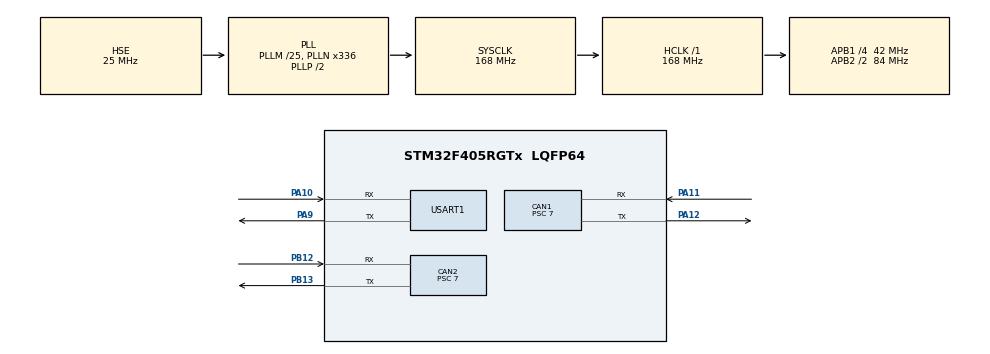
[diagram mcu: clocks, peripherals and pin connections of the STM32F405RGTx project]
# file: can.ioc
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CAN1.BS1=CAN_BS1_5TQ
CAN1.BS2=CAN_BS2_6TQ
CAN1.CalculateBaudRate=499999
CAN1.CalculateTimeBit=2000
CAN1.CalculateTimeQuantum=166.66666666666669
CAN1.Mode=CAN_MODE_LOOPBACK
CAN1.Prescaler=7
CAN2.BS1=CAN_BS1_5TQ
CAN2.BS2=CAN_BS2_6TQ
CAN2.CalculateBaudRate=499999
CAN2.CalculateTimeBit=2000
CAN2.CalculateTimeQuantum=166.66666666666669
CAN2.Mode=CAN_MODE_LOOPBACK
CAN2.Prescaler=7
Dma.Request0=USART1_RX
Dma.Request1=USART1_TX
Dma.USART1_RX.0.Direction=DMA_PERIPH_TO_MEMORY
Dma.USART1_RX.0.FIFOMode=DMA_FIFOMODE_DISABLE
Dma.USART1_RX.0.Instance=DMA2_Stream2
Dma.USART1_RX.0.MemDataAlignment=DMA_MDATAALIGN_BYTE
Dma.USART1_RX.0.MemInc=DMA_MINC_ENABLE
Dma.USART1_RX.0.Mode=DMA_NORMAL
Dma.USART1_RX.0.PeriphDataAlignment=DMA_PDATAALIGN_BYTE
Dma.USART1_RX.0.PeriphInc=DMA_PINC_DISABLE
Dma.USART1_RX.0.Priority=DMA_PRIORITY_MEDIUM
Dma.USART1_TX.1.Direction=DMA_MEMORY_TO_PERIPH
Dma.USART1_TX.1.FIFOMode=DMA_FIFOMODE_DISABLE
Dma.USART1_TX.1.Instance=DMA2_Stream7
Dma.USART1_TX.1.MemDataAlignment=DMA_MDATAALIGN_BYTE
Dma.USART1_TX.1.MemInc=DMA_MINC_ENABLE
Dma.USART1_TX.1.Mode=DMA_NORMAL
Dma.USART1_TX.1.PeriphDataAlignment=DMA_PDATAALIGN_BYTE
Dma.USART1_TX.1.PeriphInc=DMA_PINC_DISABLE
Dma.USART1_TX.1.Priority=DMA_PRIORITY_LOW
FREERTOS.Queues01=myQueue01,16,uint16_t,0,Dynamic,NULL,NULL
FREERTOS.Tasks01=defaultTask,24,128,StartDefaultTask,Default,NULL,Dynamic,NULL,NULL;myTask01,8,128,StartTask01,Default,NULL,Dynamic,NULL,NULL
Mcu.Family=STM32F4
Mcu.Name=STM32F405RGTx
Mcu.Package=LQFP64
NVIC.CAN1_RX0_IRQn=true\:5\:0\:false\:false\:true\:true\:true\:true\:true
NVIC.CAN2_RX0_IRQn=true\:5\:0\:false\:false\:true\:true\:true\:true\:true
NVIC.DMA2_Stream2_IRQn=true\:5\:0\:false\:false\:true\:true\:false\:true\:true
NVIC.DMA2_Stream7_IRQn=true\:5\:0\:false\:false\:true\:true\:false\:true\:true
NVIC.PriorityGroup=NVIC_PRIORITYGROUP_4
NVIC.TIM1_UP_TIM10_IRQn=true\:15\:0\:false\:false\:true\:false\:false\:true\:true
NVIC.TimeBase=TIM1_UP_TIM10_IRQn
NVIC.TimeBaseIP=TIM1
NVIC.USART1_IRQn=true\:5\:0\:false\:false\:true\:true\:false\:true\:true
PA10.Mode=Asynchronous
PA10.Signal=USART1_RX
PA11.Mode=CAN_Activate
PA11.Signal=CAN1_RX
PA12.Mode=CAN_Activate
PA12.Signal=CAN1_TX
PA13.Mode=Serial_Wire
PA13.Signal=SYS_JTMS-SWDIO
PA14.Mode=Serial_Wire
PA14.Signal=SYS_JTCK-SWCLK
PA9.Mode=Asynchronous
PA9.Signal=USART1_TX
PB12.Mode=CAN_Activate
PB12.Signal=CAN2_RX
PB13.Mode=CAN_Activate
PB13.Signal=CAN2_TX
PH0-OSC_IN.Mode=HSE-External-Oscillator
PH0-OSC_IN.Signal=RCC_OSC_IN
PH1-OSC_OUT.Mode=HSE-External-Oscillator
PH1-OSC_OUT.Signal=RCC_OSC_OUT
ProjectManager.HeapSize=0x200
ProjectManager.StackSize=0x400
ProjectManager.TargetToolchain=MDK-ARM V5.32
RCC.48MHZClocksFreq_Value=84000000
RCC.AHBFreq_Value=168000000
RCC.APB1CLKDivider=RCC_HCLK_DIV4
RCC.APB1Freq_Value=42000000
RCC.APB1TimFreq_Value=84000000
RCC.APB2CLKDivider=RCC_HCLK_DIV2
RCC.APB2Freq_Value=84000000
RCC.APB2TimFreq_Value=168000000
RCC.CortexFreq_Value=168000000
RCC.HCLKFreq_Value=168000000
RCC.HSE_VALUE=25000000
RCC.HSI_VALUE=16000000
RCC.LSE_VALUE=32768
RCC.PLLM=25
RCC.PLLN=336
RCC.PLLSourceVirtual=RCC_PLLSOURCE_HSE
RCC.SYSCLKFreq_VALUE=168000000
RCC.SYSCLKSource=RCC_SYSCLKSOURCE_PLLCLK
RCC.VCOOutputFreq_Value=336000000
USART1.VirtualMode=VM_ASYNC
VP_FREERTOS_VS_CMSIS_V2.Mode=CMSIS_V2
VP_SYS_VS_tim1.Mode=TIM1
board=custom

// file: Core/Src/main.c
/* USER CODE BEGIN Header */
/**
  ******************************************************************************
  * @file           : main.c
  * @brief          : Main program body
  ******************************************************************************
  * @attention
  *
  * Copyright (c) 2024 STMicroelectronics.
  * All rights reserved.
  *
  * This software is licensed under terms that can be found in the LICENSE file
  * in the root directory of this software component.
  * If no LICENSE file comes with this software, it is provided AS-IS.
  *
  ******************************************************************************
  */
/* USER CODE END Header */
#include "main.h"
#include "cmsis_os.h"
#include "can.h"
#include "dma.h"
#include "usart.h"
#include "gpio.h"

void SystemClock_Config(void);
void MX_FREERTOS_Init(void);

int main(void)
{

  /* MCU Configuration--------------------------------------------------------*/

  /* Reset of all peripherals, Initializes the Flash interface and the Systick. */
  HAL_Init();

  /* Configure the system clock */
  SystemClock_Config();

  /* Initialize all configured peripherals */
  MX_GPIO_Init();
  MX_DMA_Init();
  MX_CAN1_Init();
  MX_CAN2_Init();
  MX_USART1_UART_Init();

  /* Init scheduler */
  osKernelInitialize();

  /* Call init function for freertos objects (in cmsis_os2.c) */
  MX_FREERTOS_Init();

  /* Start scheduler */
  osKernelStart();

  /* We should never get here as control is now taken by the scheduler */

  /* Infinite loop */
  while (1)
  {

  }
}

void SystemClock_Config(void)
{
  RCC_OscInitTypeDef RCC_OscInitStruct = {0};
  RCC_ClkInitTypeDef RCC_ClkInitStruct = {0};

  /** Configure the main internal regulator output voltage
  */
  __HAL_RCC_PWR_CLK_ENABLE();
  __HAL_PWR_VOLTAGESCALING_CONFIG(PWR_REGULATOR_VOLTAGE_SCALE1);

  /** Initializes the RCC Oscillators according to the specified parameters
  * in the RCC_OscInitTypeDef structure.
  */
  RCC_OscInitStruct.OscillatorType = RCC_OSCILLATORTYPE_HSE;
  RCC_OscInitStruct.HSEState = RCC_HSE_ON;
  RCC_OscInitStruct.PLL.PLLState = RCC_PLL_ON;
  RCC_OscInitStruct.PLL.PLLSource = RCC_PLLSOURCE_HSE;
  RCC_OscInitStruct.PLL.PLLM = 25;
  RCC_OscInitStruct.PLL.PLLN = 336;
  RCC_OscInitStruct.PLL.PLLP = RCC_PLLP_DIV2;
  RCC_OscInitStruct.PLL.PLLQ = 4;
  if (HAL_RCC_OscConfig(&RCC_OscInitStruct) != HAL_OK)
  {
    Error_Handler();
  }

  /** Initializes the CPU, AHB and APB buses clocks
  */
  RCC_ClkInitStruct.ClockType = RCC_CLOCKTYPE_HCLK|RCC_CLOCKTYPE_SYSCLK
                              |RCC_CLOCKTYPE_PCLK1|RCC_CLOCKTYPE_PCLK2;
  RCC_ClkInitStruct.SYSCLKSource = RCC_SYSCLKSOURCE_PLLCLK;
  RCC_ClkInitStruct.AHBCLKDivider = RCC_SYSCLK_DIV1;
  RCC_ClkInitStruct.APB1CLKDivider = RCC_HCLK_DIV4;
  RCC_ClkInitStruct.APB2CLKDivider = RCC_HCLK_DIV2;

  if (HAL_RCC_ClockConfig(&RCC_ClkInitStruct, FLASH_LATENCY_5) != HAL_OK)
  {
    Error_Handler();
  }
}

void HAL_TIM_PeriodElapsedCallback(TIM_HandleTypeDef *htim)
{
  if (htim->Instance == TIM1) {
    HAL_IncTick();
  }
}

void Error_Handler(void)
{
  __disable_irq();
  while (1)
  {
  }
}

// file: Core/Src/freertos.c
/* USER CODE BEGIN Header */
/**
  ******************************************************************************
  * File Name          : freertos.c
  * Description        : Code for freertos applications
  ******************************************************************************
  * @attention
  *
  * Copyright (c) 2024 STMicroelectronics.
  * All rights reserved.
  *
  * This software is licensed under terms that can be found in the LICENSE file
  * in the root directory of this software component.
  * If no LICENSE file comes with this software, it is provided AS-IS.
  *
  ******************************************************************************
  */
/* USER CODE END Header */

#include "FreeRTOS.h"
#include "task.h"
#include "main.h"
#include "cmsis_os.h"

/* USER CODE BEGIN Includes */
#include "queue.h"
#include "usart.h"
#include "can.h"

/* USER CODE END Includes */

/* Definitions for defaultTask */
osThreadId_t defaultTaskHandle;
const osThreadAttr_t defaultTask_attributes = {
  .name = "defaultTask",
  .stack_size = 128 * 4,
  .priority = (osPriority_t) osPriorityNormal,
};
/* Definitions for myTask01 */
osThreadId_t myTask01Handle;
const osThreadAttr_t myTask01_attributes = {
  .name = "myTask01",
  .stack_size = 128 * 4,
  .priority = (osPriority_t) osPriorityLow,
};
/* Definitions for myQueue01 */
osMessageQueueId_t myQueue01Handle;
const osMessageQueueAttr_t myQueue01_attributes = {
  .name = "myQueue01"
};

void StartDefaultTask(void *argument);
void StartTask01(void *argument);

void MX_FREERTOS_Init(void); /* (MISRA C 2004 rule 8.1) */

void MX_FREERTOS_Init(void) {

  /* Create the queue(s) */
  /* creation of myQueue01 */
  myQueue01Handle = osMessageQueueNew (16, sizeof(uint16_t), &myQueue01_attributes);

  /* Create the thread(s) */
  /* creation of defaultTask */
  defaultTaskHandle = osThreadNew(StartDefaultTask, NULL, &defaultTask_attributes);

  /* creation of myTask01 */
  myTask01Handle = osThreadNew(StartTask01, NULL, &myTask01_attributes);

}

void StartDefaultTask(void *argument)
{
  /* USER CODE BEGIN StartDefaultTask */
  /* Infinite loop */
  for(;;)
  {
    vTaskDelete(NULL);
  }
  /* USER CODE END StartDefaultTask */
}

void StartTask01(void *argument)
{
  /* USER CODE BEGIN StartTask01 */
    TickType_t xLastWakeTime;
    const TickType_t xFrequency = 10;
    xLastWakeTime = xTaskGetTickCount();

    TxMessage1.StdId = 0x201;
    TxMessage1.ExtId = 0x00;
    TxMessage1.RTR = CAN_RTR_DATA;
    TxMessage1.IDE = CAN_ID_STD;
    TxMessage1.DLC = 8;
    TxMessage1.TransmitGlobalTime = DISABLE;

    TxMessage2.StdId = 0x202;
    TxMessage2.ExtId = 0x00;
    TxMessage2.RTR = CAN_RTR_DATA;
    TxMessage2.IDE = CAN_ID_STD;
    TxMessage2.DLC = 8;
    TxMessage2.TransmitGlobalTime = DISABLE;

    uint32_t pTxMailbox = 0;

    uint8_t adata[8] = {0};

    BaseType_t xReturn;
    uint16_t temp;
    uint16_t flag = 0;

    uint8_t a = 6;
    uint8_t c = 9;

    HAL_UARTEx_ReceiveToIdle_DMA(&huart1, rx_buff, BUFF_SIZE);
    __HAL_DMA_DISABLE_IT(&hdma_usart1_rx, DMA_IT_HT);

    uint8_t count=0;

  /* Infinite loop */
  for(;;)
  {
      xReturn=xQueueReceive(myQueue01Handle,&temp,1);
      #if 0
    if(temp == 1)
    {
        HAL_CAN_AddTxMessage(&hcan1, &TxMessage1, adata, &pTxMailbox);
    }
    else if(temp == 2)
    {
        HAL_CAN_AddTxMessage(&hcan2, &TxMessage2, adata, &pTxMailbox);
    }

//    HAL_CAN_GetRxMessage(&hcan1, CAN_RX_FIFO0, &RxMessage1, adata);
//    HAL_CAN_GetRxMessage(&hcan2, CAN_RX_FIFO0, &RxMessage2, adata);

    if(HAL_CAN_GetRxMessage(&hcan2, CAN_RX_FIFO0, &RxMessage1, adata) == HAL_OK )
    {
        HAL_UART_Transmit(&huart1, &a, 1, 0xffff);
    }

    else if(HAL_CAN_GetRxMessage(&hcan1, CAN_RX_FIFO0, &RxMessage2, adata) == HAL_OK )
    {
        HAL_UART_Transmit(&huart1, &c, 1, 0xffff);
    }
    #else
    for(;count<2;count++)
    {
        HAL_CAN_AddTxMessage(&hcan1, &TxMessage1, adata, &pTxMailbox);
    }
    HAL_CAN_GetRxMessage(&hcan1, CAN_RX_FIFO0, &RxMessage1, adata);
    uint32_t msgCount = HAL_CAN_GetRxFifoFillLevel(&hcan1,CAN_RX_FIFO0);
    osDelay(1);
    if(RxMessage1.StdId == 0x201)
    {
        osDelay(1);
    }

    #endif
    vTaskDelayUntil( &xLastWakeTime, xFrequency );
  }
  /* USER CODE END StartTask01 */
}
